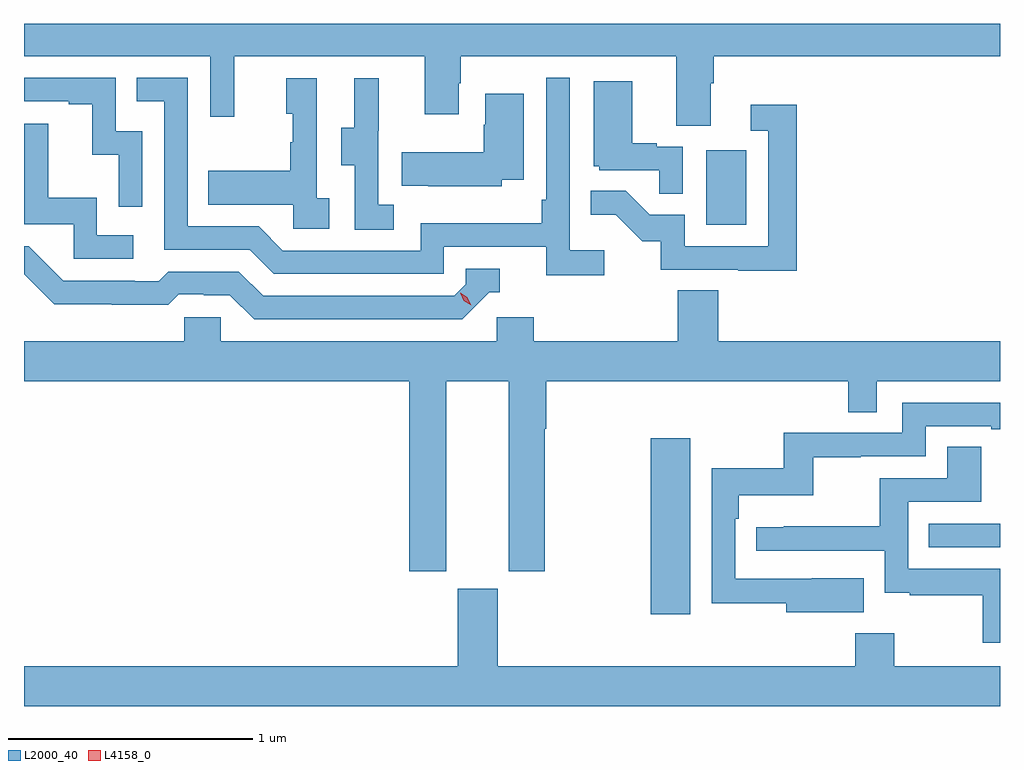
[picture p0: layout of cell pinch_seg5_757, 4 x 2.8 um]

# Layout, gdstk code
import gdstk
lib = gdstk.Library(unit=1e-6, precision=1e-09)
def R(c, l, rs):  # rectangles x0, y0, x1, y1
    for r in rs: c.add(gdstk.rectangle(r[:2], r[2:], *l))
def P(c, l, *ps):  # polygons
    for p in ps: c.add(gdstk.Polygon(p, *l))
L2000_40 = (2000, 40)
L4158_0 = (4158, 0)

pinch_seg5_757 = lib.new_cell('pinch_seg5_757')
R(pinch_seg5_757, L2000_40, [(854.222,913.08,854.383,913.801), (855.361,913.356,855.653,913.452), (854.45,914.676,854.614,914.983)])
P(pinch_seg5_757, L2000_40, [(854.467,915.256),(854.48,915.256),(854.48,915.368),(855.653,915.368),(855.653,915.5),(851.653,915.5),(851.653,915.368),(852.417,915.368),(852.417,915.12),(852.515,915.12),(852.515,915.368),(853.295,915.368),(853.295,915.129),(853.435,915.129),(853.435,915.257),(853.443,915.257),(853.443,915.368),(854.327,915.368),(854.327,915.082),(854.467,915.082)],
  [(854.032,914.572),(853.89,914.572),(853.89,915.28),(853.794,915.28),(853.794,914.779),(853.774,914.779),(853.774,914.683),(853.278,914.683),(853.278,914.571),(852.714,914.571),(852.615,914.67),(852.324,914.67),(852.324,915.279),(852.115,915.279),(852.115,915.183),(852.228,915.183),(852.228,914.574),(852.578,914.574),(852.677,914.475),(853.374,914.475),(853.374,914.586),(853.793,914.586),(853.793,914.47),(854.032,914.47)],
  [(852.138,915.06),(852.03,915.06),(852.03,915.279),(851.653,915.279),(851.653,915.183),(851.837,915.183),(851.837,915.171),(851.933,915.171),(851.933,914.963),(852.042,914.963),(852.042,914.751),(852.138,914.751)],
  [(853.168,914.759),(853.104,914.759),(853.104,915.063),(853.106,915.063),(853.106,915.277),(853.007,915.277),(853.007,915.075),(852.953,915.075),(852.953,914.92),(853.008,914.92),(853.008,914.656),(853.168,914.656)],
  [(852.904,914.786),(852.852,914.786),(852.852,915.277),(852.728,915.277),(852.728,915.132),(852.754,915.132),(852.754,915.014),(852.744,915.014),(852.744,914.899),(852.409,914.899),(852.409,914.759),(852.756,914.759),(852.756,914.661),(852.904,914.661)],
  [(854.352,914.997),(854.246,914.997),(854.246,915.01),(854.146,915.01),(854.146,915.265),(853.988,915.265),(853.988,914.916),(854.01,914.916),(854.01,914.901),(854.257,914.901),(854.257,914.803),(854.352,914.803)],
  [(853.611,914.861),(853.702,914.861),(853.702,915.214),(853.544,915.214),(853.544,915.086),(853.537,915.086),(853.537,914.974),(853.201,914.974),(853.201,914.837),(853.309,914.837),(853.309,914.834),(853.611,914.834)],
  [(854.819,915.169),(854.631,915.169),(854.631,915.063),(854.703,915.063),(854.703,914.589),(854.361,914.589),(854.361,914.718),(854.217,914.718),(854.119,914.816),(853.975,914.816),(853.975,914.717),(854.079,914.717),(854.186,914.61),(854.263,914.61),(854.263,914.493),(854.581,914.493),(854.581,914.488),(854.819,914.488)],
  [(852.1,914.634),(851.952,914.634),(851.952,914.788),(851.753,914.788),(851.753,915.091),(851.653,915.091),(851.653,914.679),(851.856,914.679),(851.856,914.538),(852.1,914.538)],
  [(853.56,914.4),(853.603,914.4),(853.603,914.496),(853.464,914.496),(853.464,914.433),(853.416,914.385),(852.633,914.385),(852.534,914.484),(852.245,914.484),(852.206,914.445),(852.107,914.445),(852.107,914.448),(851.814,914.448),(851.673,914.589),(851.653,914.589),(851.653,914.474),(851.776,914.351),(852.012,914.351),(852.012,914.349),(852.245,914.349),(852.287,914.391),(852.39,914.391),(852.39,914.388),(852.497,914.388),(852.596,914.289),(853.449,914.289)],
  [(853.384,914.036),(853.64,914.036),(853.64,913.257),(853.788,913.257),(853.788,913.84),(853.793,913.84),(853.793,914.036),(855.031,914.036),(855.031,913.909),(855.147,913.909),(855.147,914.036),(855.653,914.036),(855.653,914.2),(854.498,914.2),(854.498,914.408),(854.333,914.408),(854.333,914.2),(853.742,914.2),(853.742,914.298),(853.59,914.298),(853.59,914.2),(852.459,914.2),(852.459,914.298),(852.309,914.298),(852.309,914.2),(851.653,914.2),(851.653,914.036),(853.232,914.036),(853.232,913.257),(853.384,913.257)],
  [(855.095,913.228),(854.881,913.228),(854.881,913.227),(854.568,913.227),(854.568,913.472),(854.582,913.472),(854.582,913.568),(854.887,913.568),(854.887,913.723),(855.083,913.723),(855.083,913.728),(855.348,913.728),(855.348,913.851),(855.617,913.851),(855.617,913.839),(855.653,913.839),(855.653,913.947),(855.252,913.947),(855.252,913.824),(854.766,913.824),(854.766,913.678),(854.472,913.678),(854.472,913.126),(854.777,913.126),(854.777,913.088),(855.095,913.088)],
  [(855.653,913.266),(855.276,913.266),(855.276,913.542),(855.577,913.542),(855.577,913.766),(855.437,913.766),(855.437,913.638),(855.16,913.638),(855.16,913.442),(854.767,913.442),(854.767,913.437),(854.655,913.437),(854.655,913.341),(855.18,913.341),(855.18,913.169),(855.283,913.169),(855.283,913.158),(855.582,913.158),(855.582,912.963),(855.653,912.963)],
  [(855.653,912.868),(855.219,912.868),(855.219,913.003),(855.059,913.003),(855.059,912.868),(853.594,912.868),(853.594,913.185),(853.43,913.185),(853.43,912.868),(851.653,912.868),(851.653,912.704),(855.653,912.704)])
P(pinch_seg5_757, L4158_0, [(853.486,914.346),(853.455,914.366),(853.44,914.398),(853.44,914.399),(853.44,914.399),(853.47,914.379),(853.486,914.347),(853.486,914.346)])

lib.write_gds('pinch_seg5_757.gds')
